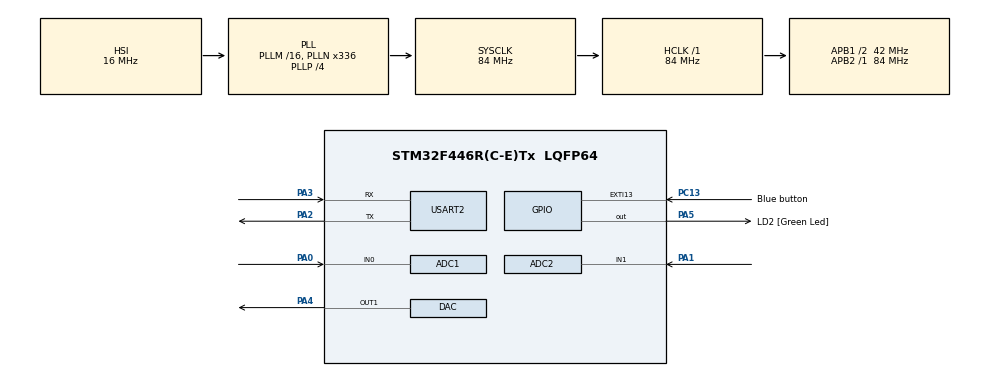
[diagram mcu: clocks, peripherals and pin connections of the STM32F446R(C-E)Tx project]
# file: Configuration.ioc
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ADC1.Channel-2\#ChannelRegularConversion=ADC_CHANNEL_0
ADC1.ClockPrescaler=ADC_CLOCK_SYNC_PCLK_DIV4
ADC1.ContinuousConvMode=DISABLE
ADC1.DMAContinuousRequests=ENABLE
ADC1.ExternalTrigConv=ADC_EXTERNALTRIGCONV_T3_TRGO
ADC1.ExternalTrigConvEdge=ADC_EXTERNALTRIGCONVEDGE_RISINGFALLING
ADC1.Mode=ADC_DUALMODE_REGSIMULT
ADC1.NbrOfConversion=1
ADC1.NbrOfConversionFlag=1
ADC1.Rank-2\#ChannelRegularConversion=1
ADC1.SamplingTime-2\#ChannelRegularConversion=ADC_SAMPLETIME_3CYCLES
ADC1.ScanConvMode=DISABLE
ADC1.master=1
ADC2.Channel-2\#ChannelRegularConversion=ADC_CHANNEL_1
ADC2.ContinuousConvMode=DISABLE
ADC2.DMAContinuousRequests=ENABLE
ADC2.Mode=ADC_DUALMODE_REGSIMULT
ADC2.NbrOfConversionFlag=1
ADC2.Rank-2\#ChannelRegularConversion=1
ADC2.SamplingTime-2\#ChannelRegularConversion=ADC_SAMPLETIME_480CYCLES
ADC2.ScanConvMode=DISABLE
DAC.DAC_Trigger=DAC_TRIGGER_NONE
Dma.ADC1.0.Direction=DMA_PERIPH_TO_MEMORY
Dma.ADC1.0.FIFOMode=DMA_FIFOMODE_DISABLE
Dma.ADC1.0.Instance=DMA2_Stream0
Dma.ADC1.0.MemDataAlignment=DMA_MDATAALIGN_WORD
Dma.ADC1.0.MemInc=DMA_MINC_ENABLE
Dma.ADC1.0.Mode=DMA_CIRCULAR
Dma.ADC1.0.PeriphDataAlignment=DMA_PDATAALIGN_WORD
Dma.ADC1.0.PeriphInc=DMA_PINC_DISABLE
Dma.ADC1.0.Priority=DMA_PRIORITY_HIGH
Dma.Request0=ADC1
Dma.Request1=USART2_TX
Dma.USART2_TX.1.Direction=DMA_MEMORY_TO_PERIPH
Dma.USART2_TX.1.FIFOMode=DMA_FIFOMODE_DISABLE
Dma.USART2_TX.1.Instance=DMA1_Stream6
Dma.USART2_TX.1.MemDataAlignment=DMA_MDATAALIGN_BYTE
Dma.USART2_TX.1.MemInc=DMA_MINC_ENABLE
Dma.USART2_TX.1.Mode=DMA_NORMAL
Dma.USART2_TX.1.PeriphDataAlignment=DMA_PDATAALIGN_BYTE
Dma.USART2_TX.1.PeriphInc=DMA_PINC_DISABLE
Dma.USART2_TX.1.Priority=DMA_PRIORITY_LOW
Mcu.Family=STM32F4
Mcu.Name=STM32F446R(C-E)Tx
Mcu.Package=LQFP64
NVIC.DMA1_Stream6_IRQn=true\:0\:0\:false\:false\:true\:false\:true
NVIC.DMA2_Stream0_IRQn=true\:0\:0\:false\:false\:true\:false\:true
NVIC.EXTI15_10_IRQn=true\:0\:0\:false\:false\:true\:true\:true
NVIC.PriorityGroup=NVIC_PRIORITYGROUP_0
NVIC.USART2_IRQn=true\:0\:0\:false\:false\:true\:true\:true
PA0-WKUP.Signal=ADCx_IN0
PA1.Signal=ADCx_IN1
PA13.GPIO_Label=TMS
PA13.Signal=SYS_JTMS-SWDIO
PA14.GPIO_Label=TCK
PA14.Signal=SYS_JTCK-SWCLK
PA2.Mode=Asynchronous
PA2.Signal=USART2_TX
PA3.Mode=Asynchronous
PA3.Signal=USART2_RX
PA4.Signal=COMP_DAC1_group
PA5.GPIO_Label=LD2 [Green Led]
PA5.Signal=GPIO_Output
PB3.GPIO_Label=SWO
PB3.Signal=SYS_JTDO-SWO
PC13.GPIO_Label=Blue button
PC13.GPIO_ModeDefaultEXTI=GPIO_MODE_IT_FALLING
PC13.Signal=GPXTI13
PC14-OSC32_IN.Signal=RCC_OSC32_IN
PC15-OSC32_OUT.Signal=RCC_OSC32_OUT
PH0-OSC_IN.Signal=RCC_OSC_IN
PH1-OSC_OUT.Signal=RCC_OSC_OUT
ProjectManager.HeapSize=0x200
ProjectManager.StackSize=0x400
ProjectManager.TargetToolchain=SW4STM32
RCC.AHBFreq_Value=84000000
RCC.APB1CLKDivider=RCC_HCLK_DIV2
RCC.APB1Freq_Value=42000000
RCC.APB1TimFreq_Value=84000000
RCC.APB2Freq_Value=84000000
RCC.APB2TimFreq_Value=84000000
RCC.CortexFreq_Value=84000000
RCC.FLatency-AdvancedSettings=FLASH_LATENCY_2
RCC.HCLKFreq_Value=84000000
RCC.HSE_VALUE=8000000
RCC.HSI_VALUE=16000000
RCC.LSE_VALUE=32768
RCC.PLLN=336
RCC.PLLP=RCC_PLLP_DIV4
RCC.SYSCLKFreq_VALUE=84000000
RCC.SYSCLKSource=RCC_SYSCLKSOURCE_PLLCLK
RCC.USBFreq_Value=168000000
RCC.VCOOutputFreq_Value=336000000
SH.ADCx_IN0.0=ADC1_IN0,IN0
SH.ADCx_IN1.0=ADC2_IN1,IN1
SH.COMP_DAC1_group.0=DAC_OUT1,DAC_OUT1
TIM3.AutoReloadPreload=TIM_AUTORELOAD_PRELOAD_ENABLE
TIM3.Channel-Output\ Compare1\ No\ Output=TIM_CHANNEL_1
TIM3.OCMode_1=TIM_OCMODE_TIMING
TIM3.Period=20-1
TIM3.Prescaler=420-1
TIM3.Pulse-Output\ Compare1\ No\ Output=0
TIM3.TIM_MasterOutputTrigger=TIM_TRGO_UPDATE
USART2.VirtualMode=VM_ASYNC
VP_TIM3_VS_ClockSourceINT.Mode=Internal
VP_TIM3_VS_no_output1.Mode=Output Compare1 No Output
board=NUCLEO-F446RE

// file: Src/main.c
/* USER CODE BEGIN Header */
/**
  ******************************************************************************
  * @file           : main.c
  * @brief          : Main program body
  ******************************************************************************
  * @attention
  *
  * <h2><center>&copy; Copyright (c) 2019 STMicroelectronics.
  * All rights reserved.</center></h2>
  *
  * This software component is licensed by ST under BSD 3-Clause license,
  * the "License"; You may not use this file except in compliance with the
  * License. You may obtain a copy of the License at:
  *                        opensource.org/licenses/BSD-3-Clause
  *
  ******************************************************************************
  */
/* USER CODE END Header */

#include "main.h"

/* USER CODE BEGIN Includes */
#include <string.h>			// used for mem operations (memset, memmove)
#include <stdlib.h>			// needed for atoi - UART RX
/* USER CODE END Includes */

/* USER CODE BEGIN PD */
#define BETA 2E-4f			// LMS Convergence Rate
#define L 50				// Filter Order
#define V_REF 3.0f			// this should be changed in the future to dynamically calculate the DC offset of the signal
#define RESOLUTION 4096		// ADC and DAC resolution 12bit
#define DAC_LOW_TH 	850		// threshold for DAC buffer - at edge values it behaves weird ("rollover" of output voltage)
#define DAC_HIGH_TH 3250
/* USER CODE END PD */

ADC_HandleTypeDef hadc1;
ADC_HandleTypeDef hadc2;
DMA_HandleTypeDef hdma_adc1;

DAC_HandleTypeDef hdac;

TIM_HandleTypeDef htim3;

UART_HandleTypeDef huart2;
DMA_HandleTypeDef hdma_usart2_tx;

/* USER CODE BEGIN PV */
const float V_REF_HALF = V_REF/2.0f; 			// added as variable to speed up calculations
float samples[L];								// buffer of L input samples, where 0 is newest, L-1 is oldest
float weights[L];		 						// Filter coefficients (weights), where 0 is newest, L-1 is oldest
volatile uint32_t micInsideOutside = 0; 		// upper half word is hadc2, lower half word is hadc1 -- this is ADC in DMA Mode 2 behaviour
uint16_t output = 0;							// output of FIR filter to DAC
volatile uint8_t enable = 1;					// should ANC be enabled? default: 1
/* USER CODE END PV */

void SystemClock_Config(void);
static void MX_GPIO_Init(void);
static void MX_DMA_Init(void);
static void MX_ADC1_Init(void);
static void MX_ADC2_Init(void);
static void MX_DAC_Init(void);
static void MX_USART2_UART_Init(void);
static void MX_TIM3_Init(void);

int main(void)
{

  /* MCU Configuration--------------------------------------------------------*/

  /* Reset of all peripherals, Initializes the Flash interface and the Systick. */
  HAL_Init();

  /* Configure the system clock */
  SystemClock_Config();

  /* Initialize all configured peripherals */
  MX_GPIO_Init();
  MX_DMA_Init();
  MX_ADC1_Init();
  MX_ADC2_Init();
  MX_DAC_Init();
  MX_USART2_UART_Init();
  MX_TIM3_Init();
  /* USER CODE BEGIN 2 */
  HAL_ADC_Start(&hadc2);
  HAL_ADCEx_MultiModeStart_DMA(&hadc1, &micInsideOutside, 1);
  HAL_DAC_Start(&hdac, DAC_CHANNEL_1);
  HAL_TIM_Base_Start(&htim3); // start timer 3 to enable ADC triggering
  HAL_UART_Receive_IT(&huart2, (uint8_t*)&enable, 1);
  /* USER CODE END 2 */

  /* Infinite loop */
  while (1)
  {

  }
}

void SystemClock_Config(void)
{
  RCC_OscInitTypeDef RCC_OscInitStruct = {0};
  RCC_ClkInitTypeDef RCC_ClkInitStruct = {0};

  /** Configure the main internal regulator output voltage
  */
  __HAL_RCC_PWR_CLK_ENABLE();
  __HAL_PWR_VOLTAGESCALING_CONFIG(PWR_REGULATOR_VOLTAGE_SCALE3);
  /** Initializes the CPU, AHB and APB busses clocks
  */
  RCC_OscInitStruct.OscillatorType = RCC_OSCILLATORTYPE_HSI;
  RCC_OscInitStruct.HSIState = RCC_HSI_ON;
  RCC_OscInitStruct.HSICalibrationValue = RCC_HSICALIBRATION_DEFAULT;
  RCC_OscInitStruct.PLL.PLLState = RCC_PLL_ON;
  RCC_OscInitStruct.PLL.PLLSource = RCC_PLLSOURCE_HSI;
  RCC_OscInitStruct.PLL.PLLM = 16;
  RCC_OscInitStruct.PLL.PLLN = 336;
  RCC_OscInitStruct.PLL.PLLP = RCC_PLLP_DIV4;
  RCC_OscInitStruct.PLL.PLLQ = 2;
  RCC_OscInitStruct.PLL.PLLR = 2;
  if (HAL_RCC_OscConfig(&RCC_OscInitStruct) != HAL_OK)
  {
    Error_Handler();
  }
  /** Initializes the CPU, AHB and APB busses clocks
  */
  RCC_ClkInitStruct.ClockType = RCC_CLOCKTYPE_HCLK|RCC_CLOCKTYPE_SYSCLK
                              |RCC_CLOCKTYPE_PCLK1|RCC_CLOCKTYPE_PCLK2;
  RCC_ClkInitStruct.SYSCLKSource = RCC_SYSCLKSOURCE_PLLCLK;
  RCC_ClkInitStruct.AHBCLKDivider = RCC_SYSCLK_DIV1;
  RCC_ClkInitStruct.APB1CLKDivider = RCC_HCLK_DIV2;
  RCC_ClkInitStruct.APB2CLKDivider = RCC_HCLK_DIV1;

  if (HAL_RCC_ClockConfig(&RCC_ClkInitStruct, FLASH_LATENCY_2) != HAL_OK)
  {
    Error_Handler();
  }
}

static void MX_ADC1_Init(void)
{

  ADC_MultiModeTypeDef multimode = {0};
  ADC_ChannelConfTypeDef sConfig = {0};

  /** Configure the global features of the ADC (Clock, Resolution, Data Alignment and number of conversion)
  */
  hadc1.Instance = ADC1;
  hadc1.Init.ClockPrescaler = ADC_CLOCK_SYNC_PCLK_DIV4;
  hadc1.Init.Resolution = ADC_RESOLUTION_12B;
  hadc1.Init.ScanConvMode = DISABLE;
  hadc1.Init.ContinuousConvMode = DISABLE;
  hadc1.Init.DiscontinuousConvMode = DISABLE;
  hadc1.Init.ExternalTrigConvEdge = ADC_EXTERNALTRIGCONVEDGE_RISINGFALLING;
  hadc1.Init.ExternalTrigConv = ADC_EXTERNALTRIGCONV_T3_TRGO;
  hadc1.Init.DataAlign = ADC_DATAALIGN_RIGHT;
  hadc1.Init.NbrOfConversion = 1;
  hadc1.Init.DMAContinuousRequests = ENABLE;
  hadc1.Init.EOCSelection = ADC_EOC_SINGLE_CONV;
  if (HAL_ADC_Init(&hadc1) != HAL_OK)
  {
    Error_Handler();
  }
  /** Configure the ADC multi-mode
  */
  multimode.Mode = ADC_DUALMODE_REGSIMULT;
  multimode.DMAAccessMode = ADC_DMAACCESSMODE_2;
  multimode.TwoSamplingDelay = ADC_TWOSAMPLINGDELAY_5CYCLES;
  if (HAL_ADCEx_MultiModeConfigChannel(&hadc1, &multimode) != HAL_OK)
  {
    Error_Handler();
  }
  /** Configure for the selected ADC regular channel its corresponding rank in the sequencer and its sample time.
  */
  sConfig.Channel = ADC_CHANNEL_0;
  sConfig.Rank = 1;
  sConfig.SamplingTime = ADC_SAMPLETIME_3CYCLES;
  if (HAL_ADC_ConfigChannel(&hadc1, &sConfig) != HAL_OK)
  {
    Error_Handler();
  }

}

static void MX_ADC2_Init(void)
{

  ADC_ChannelConfTypeDef sConfig = {0};

  /** Configure the global features of the ADC (Clock, Resolution, Data Alignment and number of conversion)
  */
  hadc2.Instance = ADC2;
  hadc2.Init.ClockPrescaler = ADC_CLOCK_SYNC_PCLK_DIV4;
  hadc2.Init.Resolution = ADC_RESOLUTION_12B;
  hadc2.Init.ScanConvMode = DISABLE;
  hadc2.Init.ContinuousConvMode = DISABLE;
  hadc2.Init.DiscontinuousConvMode = DISABLE;
  hadc2.Init.DataAlign = ADC_DATAALIGN_RIGHT;
  hadc2.Init.NbrOfConversion = 1;
  hadc2.Init.DMAContinuousRequests = ENABLE;
  hadc2.Init.EOCSelection = ADC_EOC_SINGLE_CONV;
  if (HAL_ADC_Init(&hadc2) != HAL_OK)
  {
    Error_Handler();
  }
  /** Configure for the selected ADC regular channel its corresponding rank in the sequencer and its sample time.
  */
  sConfig.Channel = ADC_CHANNEL_1;
  sConfig.Rank = 1;
  sConfig.SamplingTime = ADC_SAMPLETIME_480CYCLES;
  if (HAL_ADC_ConfigChannel(&hadc2, &sConfig) != HAL_OK)
  {
    Error_Handler();
  }

}

static void MX_DAC_Init(void)
{

  DAC_ChannelConfTypeDef sConfig = {0};

  /** DAC Initialization
  */
  hdac.Instance = DAC;
  if (HAL_DAC_Init(&hdac) != HAL_OK)
  {
    Error_Handler();
  }
  /** DAC channel OUT1 config
  */
  sConfig.DAC_Trigger = DAC_TRIGGER_NONE;
  sConfig.DAC_OutputBuffer = DAC_OUTPUTBUFFER_ENABLE;
  if (HAL_DAC_ConfigChannel(&hdac, &sConfig, DAC_CHANNEL_1) != HAL_OK)
  {
    Error_Handler();
  }

}

static void MX_TIM3_Init(void)
{

  TIM_ClockConfigTypeDef sClockSourceConfig = {0};
  TIM_MasterConfigTypeDef sMasterConfig = {0};
  TIM_OC_InitTypeDef sConfigOC = {0};

  htim3.Instance = TIM3;
  htim3.Init.Prescaler = 420-1;
  htim3.Init.CounterMode = TIM_COUNTERMODE_UP;
  htim3.Init.Period = 20-1;
  htim3.Init.ClockDivision = TIM_CLOCKDIVISION_DIV1;
  htim3.Init.AutoReloadPreload = TIM_AUTORELOAD_PRELOAD_ENABLE;
  if (HAL_TIM_Base_Init(&htim3) != HAL_OK)
  {
    Error_Handler();
  }
  sClockSourceConfig.ClockSource = TIM_CLOCKSOURCE_INTERNAL;
  if (HAL_TIM_ConfigClockSource(&htim3, &sClockSourceConfig) != HAL_OK)
  {
    Error_Handler();
  }
  if (HAL_TIM_OC_Init(&htim3) != HAL_OK)
  {
    Error_Handler();
  }
  sMasterConfig.MasterOutputTrigger = TIM_TRGO_UPDATE;
  sMasterConfig.MasterSlaveMode = TIM_MASTERSLAVEMODE_DISABLE;
  if (HAL_TIMEx_MasterConfigSynchronization(&htim3, &sMasterConfig) != HAL_OK)
  {
    Error_Handler();
  }
  sConfigOC.OCMode = TIM_OCMODE_TIMING;
  sConfigOC.Pulse = 0;
  sConfigOC.OCPolarity = TIM_OCPOLARITY_HIGH;
  sConfigOC.OCFastMode = TIM_OCFAST_DISABLE;
  if (HAL_TIM_OC_ConfigChannel(&htim3, &sConfigOC, TIM_CHANNEL_1) != HAL_OK)
  {
    Error_Handler();
  }

}

static void MX_USART2_UART_Init(void)
{

  huart2.Instance = USART2;
  huart2.Init.BaudRate = 115200;
  huart2.Init.WordLength = UART_WORDLENGTH_8B;
  huart2.Init.StopBits = UART_STOPBITS_1;
  huart2.Init.Parity = UART_PARITY_NONE;
  huart2.Init.Mode = UART_MODE_TX_RX;
  huart2.Init.HwFlowCtl = UART_HWCONTROL_NONE;
  huart2.Init.OverSampling = UART_OVERSAMPLING_16;
  if (HAL_UART_Init(&huart2) != HAL_OK)
  {
    Error_Handler();
  }

}

static void MX_DMA_Init(void)
{

  /* DMA controller clock enable */
  __HAL_RCC_DMA2_CLK_ENABLE();
  __HAL_RCC_DMA1_CLK_ENABLE();

  /* DMA interrupt init */
  /* DMA1_Stream6_IRQn interrupt configuration */
  HAL_NVIC_SetPriority(DMA1_Stream6_IRQn, 0, 0);
  HAL_NVIC_EnableIRQ(DMA1_Stream6_IRQn);
  /* DMA2_Stream0_IRQn interrupt configuration */
  HAL_NVIC_SetPriority(DMA2_Stream0_IRQn, 0, 0);
  HAL_NVIC_EnableIRQ(DMA2_Stream0_IRQn);

}

static void MX_GPIO_Init(void)
{
  GPIO_InitTypeDef GPIO_InitStruct = {0};

  /* GPIO Ports Clock Enable */
  __HAL_RCC_GPIOC_CLK_ENABLE();
  __HAL_RCC_GPIOH_CLK_ENABLE();
  __HAL_RCC_GPIOA_CLK_ENABLE();
  __HAL_RCC_GPIOB_CLK_ENABLE();

  /*Configure GPIO pin Output Level */
  HAL_GPIO_WritePin(LD2_GPIO_Port, LD2_Pin, GPIO_PIN_RESET);

  /*Configure GPIO pin : Blue_button_Pin */
  GPIO_InitStruct.Pin = Blue_button_Pin;
  GPIO_InitStruct.Mode = GPIO_MODE_IT_FALLING;
  GPIO_InitStruct.Pull = GPIO_NOPULL;
  HAL_GPIO_Init(Blue_button_GPIO_Port, &GPIO_InitStruct);

  /*Configure GPIO pin : LD2_Pin */
  GPIO_InitStruct.Pin = LD2_Pin;
  GPIO_InitStruct.Mode = GPIO_MODE_OUTPUT_PP;
  GPIO_InitStruct.Pull = GPIO_NOPULL;
  GPIO_InitStruct.Speed = GPIO_SPEED_FREQ_LOW;
  HAL_GPIO_Init(LD2_GPIO_Port, &GPIO_InitStruct);

  /* EXTI interrupt init*/
  HAL_NVIC_SetPriority(EXTI15_10_IRQn, 0, 0);
  HAL_NVIC_EnableIRQ(EXTI15_10_IRQn);

}

/* USER CODE BEGIN 4 */
/*
 *@brief UART Receive Callback -- Used for enable/disable algorithm from PC
 */
void HAL_UART_RxCpltCallback(UART_HandleTypeDef *huart)
{
	switch(atoi((uint8_t*)&enable))
	{
	case 0:
		HAL_GPIO_WritePin(GPIOA, GPIO_PIN_5, GPIO_PIN_RESET);
		// Send contents of weights buffer. Used while testing to create filter impulse response diagram.
		UartTransmitDMA();
		break;
	case 1:
		HAL_GPIO_WritePin(GPIOA, GPIO_PIN_5, GPIO_PIN_SET);
		break;
	default:
		break;
	}
	HAL_UART_Receive_IT(&huart2, (uint8_t*)&enable, 1); // enable await-receive again
}

void UartTransmitDMA(void)
{
	HAL_UART_Transmit_DMA(&huart2, (uint8_t*)weights, sizeof(float)*L);
}

/*
 *@brief FIR with LMS Algorithm filtering
 */
void HAL_ADC_ConvCpltCallback(ADC_HandleTypeDef* hadc)
{
	HAL_GPIO_WritePin(GPIOA, GPIO_PIN_5, GPIO_PIN_SET);
	if(!enable) return;
	short I;
	float fir_error = 0.0f;
	// shift the buffer
	memmove(samples+1, samples, (L-1)*sizeof(float));
	uint16_t feedforward_sample = (uint16_t)(micInsideOutside & 0x0000FFFF); // save new value from feedforward mic
	uint16_t feedback_sample = (uint16_t)((micInsideOutside & 0xFFFF0000) >> 16); // save new value from feedback mic

	samples[0] = feedforward_sample*V_REF/RESOLUTION - V_REF_HALF; // convert to float according to resolution
	fir_error = feedback_sample*V_REF/RESOLUTION - V_REF_HALF; // convert to float according to resolution
	// calculate filter output
	float weight_sum = 0.0f;
	float Yn = 0.0f;
	float* pweights = &weights[L-1];
	float* psamples = &samples[L-1];
	for(I=L-1; I>=0; --I)
	{
		*pweights = *pweights + BETA*fir_error*(*psamples);
		weight_sum += *pweights;
		Yn -= *(pweights--)*(*(psamples--)); // note that at last iteration pweights gets set to point at weights[-1] - this is handled in the next loop using preinc instead of postinc
	}
	for(I=L-1; I>=0; --I)
	{
		*(++pweights) -= 0.04f*weight_sum/((float)L); // DC drift reduction - calculate sum of weights, and if !=0 then drift the DC constant slowly towards 0 using part of this sum.
	}
	output = (uint16_t)((Yn+V_REF_HALF)*(RESOLUTION-1.0f)/V_REF);
	if(output<DAC_LOW_TH) output = DAC_LOW_TH;
	if(output>DAC_HIGH_TH) output = DAC_HIGH_TH; // saturate output, so that destabilised filter will generate square wave instead of frying speakers
	HAL_DAC_SetValue(&hdac, DAC_CHANNEL_1, DAC_ALIGN_12B_R, output);
	HAL_GPIO_WritePin(GPIOA, GPIO_PIN_5, GPIO_PIN_RESET); // connecting diode pin to oscilloscope allows for execution time examination
}
/* USER CODE END 4 */

void Error_Handler(void)
{
}

/************************ (C) COPYRIGHT STMicroelectronics *****END OF FILE****/
